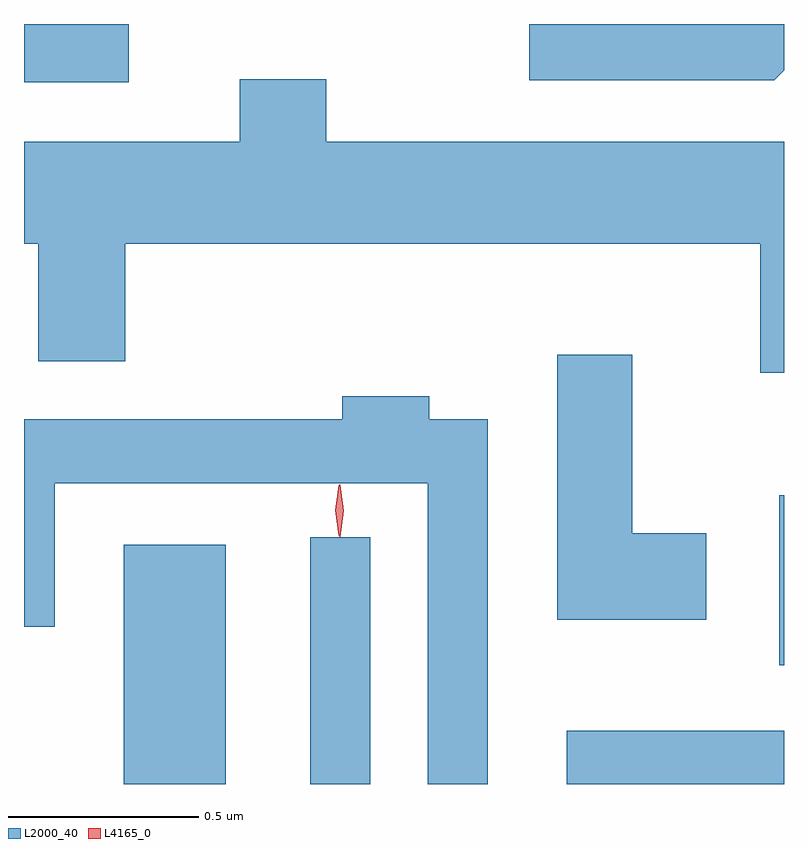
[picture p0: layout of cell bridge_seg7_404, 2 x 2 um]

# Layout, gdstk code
import gdstk
lib = gdstk.Library(unit=1e-6, precision=1e-09)
def R(c, l, rs):  # rectangles x0, y0, x1, y1
    for r in rs: c.add(gdstk.rectangle(r[:2], r[2:], *l))
def P(c, l, *ps):  # polygons
    for p in ps: c.add(gdstk.Polygon(p, *l))
L2000_40 = (2000, 40)
L4165_0 = (4165, 0)

bridge_seg7_404 = lib.new_cell('bridge_seg7_404')
R(bridge_seg7_404, L2000_40, [(1071.446,1741.754,1071.714,1742.384), (1071.936,1741.754,1072.094,1742.403), (1072.611,1741.754,1073.183,1741.894), (1073.171,1742.066,1073.183,1742.514), (1071.183,1743.601,1071.459,1743.754)])
P(bridge_seg7_404, L2000_40, [(1073.183,1743.632),(1073.183,1743.754),(1072.513,1743.754),(1072.513,1743.606),(1073.157,1743.606)],
  [(1073.183,1743.444),(1071.979,1743.444),(1071.979,1743.609),(1071.751,1743.609),(1071.751,1743.444),(1071.183,1743.444),(1071.183,1743.176),(1071.221,1743.176),(1071.221,1742.866),(1071.449,1742.866),(1071.449,1743.176),(1073.121,1743.176),(1073.121,1742.836),(1073.183,1742.836)],
  [(1072.979,1742.414),(1072.784,1742.414),(1072.784,1742.884),(1072.586,1742.884),(1072.586,1742.186),(1072.979,1742.186)],
  [(1072.404,1742.714),(1072.249,1742.714),(1072.249,1742.774),(1072.021,1742.774),(1072.021,1742.714),(1071.183,1742.714),(1071.183,1742.168),(1071.264,1742.168),(1071.264,1742.546),(1072.246,1742.546),(1072.246,1741.754),(1072.404,1741.754)])
P(bridge_seg7_404, L4165_0, [(1072.011,1742.407),(1072.002,1742.474),(1072.011,1742.54),(1072.012,1742.54),(1072.012,1742.54),(1072.022,1742.474),(1072.012,1742.407),(1072.012,1742.407)],
  [(1072.014,1742.404),(1072.014,1742.404),(1072.004,1742.473),(1072.014,1742.542),(1072.014,1742.543),(1072.015,1742.542),(1072.024,1742.473),(1072.015,1742.404)])

lib.write_gds('bridge_seg7_404.gds')
